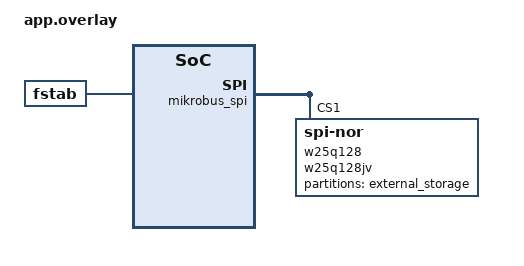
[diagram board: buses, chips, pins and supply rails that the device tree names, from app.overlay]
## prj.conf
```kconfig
# output options
CONFIG_SERIAL=y
CONFIG_STDOUT_CONSOLE=y
CONFIG_LOG=y

# shell options
CONFIG_SHELL=y
CONFIG_FILE_SYSTEM_SHELL=y

# flash chip options
CONFIG_SPI=y
CONFIG_FLASH=y
CONFIG_FLASH_MAP=y
CONFIG_FLASH_PAGE_LAYOUT=y

# filesystem options
# enable FS, choose LittleFS, and make it use a flash map device
CONFIG_FILE_SYSTEM=y
CONFIG_FILE_SYSTEM_LITTLEFS=y
CONFIG_FS_LITTLEFS_FMP_DEV=y

# incantations from the Zephyr sample
CONFIG_MAIN_STACK_SIZE=4096 
CONFIG_HEAP_MEM_POOL_SIZE=16384
CONFIG_SHELL_BACKEND_SERIAL_RX_RING_BUFFER_SIZE=128
```

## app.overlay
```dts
 / {
	chosen {
		zephyr,console = &usart2;
		zephyr,shell-uart = &usart2;
	};

	aliases {
		storage = &w25q128;
		logfs = &lfs1;
	};

	fstab {
		compatible = "zephyr,fstab";
		lfs1: lfs1 {
			compatible = "zephyr,fstab,littlefs";
			mount-point = "/lfs";
			partition = <&external_storage_partition>;
			automount;

			// the binding reccomends defaults for these
			read-size = <16>;
			prog-size = <16>;
			cache-size = <64>; // may need to grow for optimization
			lookahead-size = <32>;
			block-cycles = <(90 * 1000)>; 
			// the datasheet gives 100K P-E cycles
			// NOTE: this seems to default to 512 for the mounted filesystem
			// anyway
		};
	};
};

&mikrobus_spi {
	w25q128: w25q128jv@1 {
		compatible = "jedec,spi-nor"; // conforms to JEDEC SFDP
		reg = <1>; // connected to to connector 1

		size = <DT_SIZE_M(128)>; // w25q128 - 128 MBit (S 11, p.75) 
		jedec-id = [ef 40 18]; // 0xef4018 (Table 8.1.1, p.22)
		spi-max-frequency = <(10 * 1000000)>; // fR = 50 MHz (Table 9.6, p.65)
		// but sticking to 10 because 50 doesn't work on my hardware, at time of
		// writing

		has-dpd;
		// Power-down 0xB9 (S 8.2.21)
		t-enter-dpd = <(3 * 1000)>; // tDP = 3 us (Table 9.6, p.66)
		// Release Power-down 0xAB (S 8.2.22)
		t-exit-dpd = <(3 * 1000)>; // tRES1 = 3 us (Table 9.6, p.66)

		partitions {
			compatible = "fixed-partitions";
			#address-cells = <1>;
			#size-cells = <1>;

			external_storage_partition: partition@0 {
				label = "external_storage";
				reg = <0 DT_SIZE_M(128)>; // takes up the whole flash
			};

		};
	};
};
```

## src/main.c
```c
#include <zephyr/kernel.h>
#include <zephyr/device.h>
#include <zephyr/devicetree.h>

#include <zephyr/logging/log.h>
#include <zephyr/fs/fs.h>
#include <zephyr/drivers/flash.h>

// NOTE: Hardware prerequisites
// 	Launch Mikroe Click Shield
// 	W25Q128JV breakout connected to port 1

#define LOG_LEVEL CONFIG_LOG_DEFAULT_LEVEL
LOG_MODULE_REGISTER(app);

int main(void) {
	return 0;
}
```
